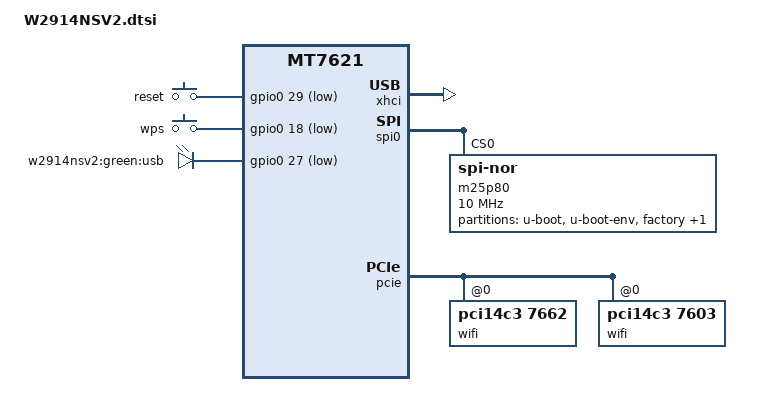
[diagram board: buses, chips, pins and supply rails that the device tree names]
#include "mt7621.dtsi"

#include <dt-bindings/gpio/gpio.h>
#include <dt-bindings/input/input.h>

/ {
	chosen {
		bootargs = "console=ttyS0,57600";
	};

	gpio-keys-polled {
		compatible = "gpio-keys-polled";
		#address-cells = <1>;
		#size-cells = <0>;
		poll-interval = <20>;

		reset {
			label = "reset";
			gpios = <&gpio0 29 GPIO_ACTIVE_LOW>;
			linux,code = <KEY_RESTART>;
		};

		wps {
			label = "wps";
			gpios = <&gpio0 18 GPIO_ACTIVE_LOW>;
			linux,code = <KEY_WPS_BUTTON>;
		};
	};

	gpio-leds {
		compatible = "gpio-leds";

		// Only USB LED is connected to GPIO.
		// All of other LEDs are connected directly to
		// switch, WiFi chip, Vcc, so they are not controllable
		// via GPIO

		usb {
			label = "w2914nsv2:green:usb";
			gpios = <&gpio0 27 GPIO_ACTIVE_LOW>;
		};
	};
};

&xhci {
	status = "okay";
};

&spi0 {
	status = "okay";

	m25p80@0 {
		#address-cells = <1>;
		#size-cells = <1>;
		compatible = "jedec,spi-nor";
		reg = <0>;
		spi-max-frequency = <10000000>;
		m25p,chunked-io = <32>;

		partition@0 {
			label = "u-boot";
			reg = <0x0 0x30000>;
			read-only;
		};

		partition@30000 {
			label = "u-boot-env";
			reg = <0x30000 0x10000>;
			read-only;
		};

		factory: partition@40000 {
			label = "factory";
			reg = <0x40000 0x10000>;
			read-only;
		};

		partition@50000 {
			label = "firmware";
			reg = <0x50000 0xfb0000>;
		};
	};
};

&pcie {
	status = "okay";

	pcie0 {
		wifi@14c3,7662 {
			compatible = "pci14c3,7662";
			reg = <0x0000 0 0 0 0>;
			mediatek,mtd-eeprom = <&factory 0x0000>;
			mediatek,5ghz = <0>;
		};
	};

	pcie1 {
		wifi@14c3,7603 {
			compatible = "pci14c3,7603";
			reg = <0x0000 0 0 0 0>;
			mediatek,mtd-eeprom = <&factory 0x8000>;
			mediatek,2ghz = <0>;
		};
	};
};

&ethernet {
	mtd-mac-address = <&factory 0xe000>;
};

&pinctrl {
	state_default: pinctrl0 {
		gpio {
			ralink,group = "wdt", "rgmii2", "jtag", "mdio";
			ralink,function = "gpio";
		};
	};
};
